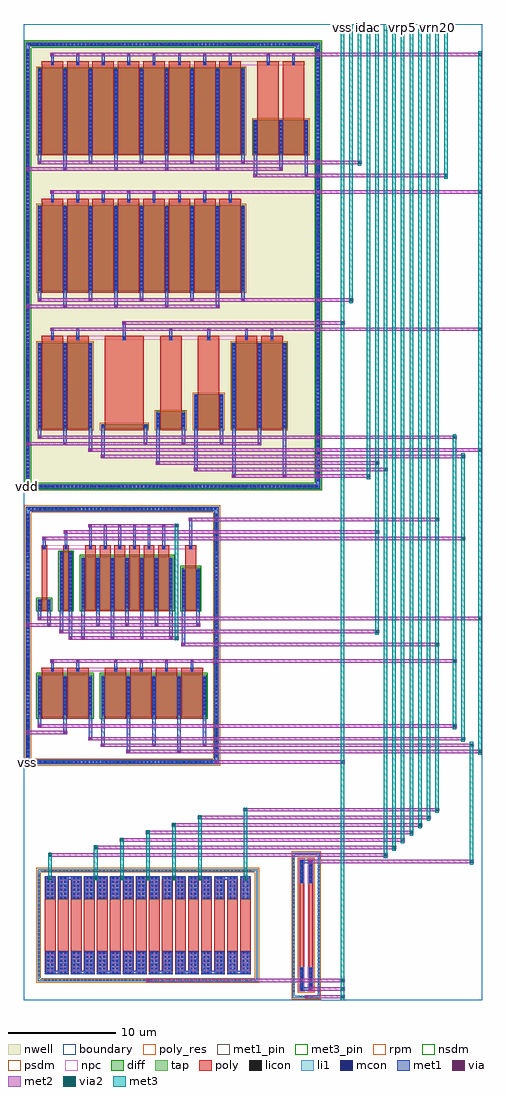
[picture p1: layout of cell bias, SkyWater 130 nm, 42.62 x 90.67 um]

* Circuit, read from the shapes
.subckt bias dcbias icbr idac iramp isw vdd vrm vrn10 vrn20 vrn5 vrp10 vrp20 vrp5 vss
XM1 vss n1 n1 vss sky130_fd_pr__nfet_01v8 w=4 l=2
XM2 vss n2 n3 vss sky130_fd_pr__nfet_01v8 w=1 l=0.5
XM3 n4 dcbias dcbias vss sky130_fd_pr__nfet_01v8 w=5.4 l=0.5
XM4 n2 n1 vss vss sky130_fd_pr__nfet_01v8 w=4 l=2
XM5 vss n4 n4 vss sky130_fd_pr__nfet_01v8 w=5 l=1 m=6
XM6 n3 n1 n5 vss sky130_fd_pr__nfet_01v8 w=4 l=2 m=4
XM7 vss vrn20 vrn20 vss sky130_fd_pr__nfet_01v8 w=4 l=1
XM8 vdd n3 n1 vdd sky130_fd_pr__pfet_01v8 w=8 l=2
XM9 vdd n3 iramp vdd sky130_fd_pr__pfet_01v8 w=8 l=2 m=8
XM10 vdd n3 icbr vdd sky130_fd_pr__pfet_01v8 w=8 l=2 m=8
XM11 n3 n3 vdd vdd sky130_fd_pr__pfet_01v8 w=8 l=2
XM12 vdd vss n2 vdd sky130_fd_pr__pfet_01v8 w=0.42 l=3.6
XM13 vdd n3 dcbias vdd sky130_fd_pr__pfet_01v8 w=1.6 l=2
XM14 vdd n3 vrp20 vdd sky130_fd_pr__pfet_01v8 w=3.2 l=2
XM15 vdd n3 idac vdd sky130_fd_pr__pfet_01v8 w=8 l=2 m=2
XM16 vdd n3 isw vdd sky130_fd_pr__pfet_01v8 w=3.2 l=2 m=2
R17 vrp20 n6 sky130_fd_pr__res_generic_po w=1 l=4.81
R18 n7 n6 sky130_fd_pr__res_generic_po w=1 l=4.81
R19 n7 n8 sky130_fd_pr__res_generic_po w=1 l=4.81
R20 vrp10 n8 sky130_fd_pr__res_generic_po w=1 l=4.81
R21 vrp10 n9 sky130_fd_pr__res_generic_po w=1 l=4.81
R22 vrp5 n9 sky130_fd_pr__res_generic_po w=1 l=4.81
R23 vrp5 n10 sky130_fd_pr__res_generic_po w=1 l=4.81
R24 vrm n10 sky130_fd_pr__res_generic_po w=1 l=4.81
R25 vrm n11 sky130_fd_pr__res_generic_po w=1 l=4.81
R26 vrn5 n11 sky130_fd_pr__res_generic_po w=1 l=4.81
R27 vrn5 n12 sky130_fd_pr__res_generic_po w=1 l=4.81
R28 vrn10 n12 sky130_fd_pr__res_generic_po w=1 l=4.81
R29 vrn10 n13 sky130_fd_pr__res_generic_po w=1 l=4.81
R30 n14 n13 sky130_fd_pr__res_generic_po w=1 l=4.81
R31 n14 n15 sky130_fd_pr__res_generic_po w=1 l=4.81
R32 vrn20 n15 sky130_fd_pr__res_generic_po w=1 l=4.81
XR33 n5 vss vss sky130_fd_pr__res_high_po w=0.35 l=7.88 m=2
.ends

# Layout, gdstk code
import gdstk
lib = gdstk.Library(unit=1e-6, precision=1e-09)
def R(c, l, rs):  # rectangles x0, y0, x1, y1
    for r in rs: c.add(gdstk.rectangle(r[:2], r[2:], *l))
def A(c, l, x, y, w, h, nx, ny, dx, dy):  # array of equal rectangles
    R(c, l, [(x+i*dx, y+j*dy, x+i*dx+w, y+j*dy+h) for i in range(nx) for j in range(ny)])
nwell = (64, 20)
diff = (65, 20)
tap = (65, 44)
poly_res = (66, 13)
poly = (66, 20)
licon = (66, 44)
li1 = (67, 20)
mcon = (67, 44)
met1_pin = (68, 16)
met1 = (68, 20)
via = (68, 44)
met2 = (69, 20)
via2 = (69, 44)
met3_pin = (70, 16)
met3 = (70, 20)
rpm = (86, 20)
nsdm = (93, 44)
psdm = (94, 20)
npc = (95, 20)
boundary = (235, 4)

bias = lib.new_cell('bias')
R(bias, nwell, [(-1.315,25.62,26.435,67.465)])
R(bias, diff, [(0,4.56,5.08,8.56), (5.88,4.56,15.68,8.56), (0,14.515,1.22,15.515), (2.02,14.515,3.24,19.915), (4.04,14.515,12.56,19.515), (13.36,14.515,15.08,18.515), (0,31.37,5.08,39.37), (5.88,31.37,10.2,31.79), (11,31.37,13.72,32.97), (14.52,31.37,17.24,34.57), (18.04,31.37,23.12,39.37), (0,44.125,19.24,52.125), (0,56.88,19.24,64.88), (20.04,56.88,25.12,60.08)])
R(bias, tap, [(23.7,-21.495,26.18,-21.325), (23.7,-21.325,23.87,-8.205), (26.01,-21.325,26.18,-8.205), (0,-19.97,20.45,-19.8), (0,-19.8,0.17,-9.73), (20.28,-19.8,20.45,-9.73), (0,-9.73,20.45,-9.56), (23.7,-8.205,26.18,-8.035), (-1.135,0.19,16.815,0.6), (-1.135,0.19,-0.725,24.12), (16.405,0.19,16.815,24.12), (-1.135,23.71,16.815,24.12), (-1.135,25.8,26.255,26.21), (-1.135,25.8,-0.725,67.285), (25.845,25.8,26.255,67.285), (-1.135,66.875,26.255,67.285)])
A(bias, poly_res, 0.65, -17.17, 1, 4.81, 16, 1, 1.21, 0)
R(bias, poly_res, [(24.35,-18.765,24.7,-10.765), (25.18,-18.765,25.53,-10.765)])
A(bias, poly, 0.65, -19.32, 1, 9.11, 16, 1, 1.21, 0)
A(bias, poly, 6.24, 4.43, 2, 4.75, 4, 1, 2.36, 0)
A(bias, poly, 6.24, 8.81, 2, 0.37, 4, 1, 2.36, 0)
A(bias, poly, 4.4, 14.385, 1, 6.15, 6, 1, 1.36, 0)
A(bias, poly, 4.4, 20.165, 1, 0.37, 6, 1, 1.36, 0)
A(bias, poly, 11.36, 31.24, 2, 8.75, 3, 1, 3.52, 0)
A(bias, poly, 11.36, 39.62, 2, 0.37, 3, 1, 3.52, 0)
A(bias, poly, 0.36, 43.995, 2, 8.75, 8, 2, 2.36, 12.755)
A(bias, poly, 0.36, 52.375, 2, 0.37, 8, 2, 2.36, 12.755)
R(bias, poly, [(24.35,-20.845,24.7,-8.685), (25.18,-20.845,25.53,-8.685), (0.36,4.43,2.36,9.18), (2.72,4.43,4.72,9.18), (0.36,8.81,2.36,9.18), (2.72,8.81,4.72,9.18), (0.36,14.385,0.86,20.535), (2.38,14.385,2.88,20.535), (13.72,14.385,14.72,20.535), (0.36,20.165,0.86,20.535), (2.38,20.165,2.88,20.535), (13.72,20.165,14.72,20.535), (0.36,31.24,2.36,39.99), (2.72,31.24,4.72,39.99), (6.24,31.24,9.84,39.99), (20.76,31.24,22.76,39.99), (0.36,39.62,2.36,39.99), (2.72,39.62,4.72,39.99), (6.24,39.62,9.84,39.99), (20.76,39.62,22.76,39.99), (20.4,56.75,22.4,65.5), (22.76,56.75,24.76,65.5), (20.4,65.13,22.4,65.5), (22.76,65.13,24.76,65.5)])
A(bias, licon, 24.345, -21.495, 0.17, 0.17, 4, 2, 0.34, 13.29)
A(bias, licon, 23.7, -20.97, 0.17, 0.17, 1, 37, 0, 0.34)
A(bias, licon, 26.01, -20.97, 0.17, 0.17, 1, 37, 0, 0.34)
A(bias, licon, 0.62, -19.97, 0.17, 0.17, 57, 2, 0.34, 10.24)
A(bias, licon, 0, -19.44, 0.17, 0.17, 1, 28, 0, 0.34)
A(bias, licon, 20.28, -19.44, 0.17, 0.17, 1, 28, 0, 0.34)
A(bias, licon, -0.915, 0.31, 0.17, 0.17, 52, 2, 0.34, 23.52)
A(bias, licon, -1.015, 0.85, 0.17, 0.17, 1, 67, 0, 0.34)
A(bias, licon, 16.525, 0.85, 0.17, 0.17, 1, 67, 0, 0.34)
A(bias, licon, 0.095, 4.775, 0.17, 0.17, 3, 11, 2.36, 0.34)
A(bias, licon, 5.975, 4.775, 0.17, 0.17, 5, 11, 2.36, 0.34)
A(bias, licon, 7.155, 8.91, 0.17, 0.17, 4, 1, 2.36, 0)
A(bias, licon, 2.115, 14.58, 0.17, 0.17, 1, 16, 0, 0.34)
A(bias, licon, 2.975, 14.58, 0.17, 0.17, 1, 16, 0, 0.34)
A(bias, licon, 0.095, 14.59, 0.17, 0.17, 1, 3, 0, 0.34)
A(bias, licon, 0.955, 14.59, 0.17, 0.17, 1, 3, 0, 0.34)
A(bias, licon, 4.135, 14.72, 0.17, 0.17, 7, 14, 1.36, 0.34)
A(bias, licon, 13.455, 14.73, 0.17, 0.17, 1, 11, 0, 0.34)
A(bias, licon, 14.815, 14.73, 0.17, 0.17, 1, 11, 0, 0.34)
A(bias, licon, 4.815, 20.265, 0.17, 0.17, 6, 1, 1.36, 0)
A(bias, licon, -0.955, 25.92, 0.17, 0.17, 80, 2, 0.34, 41.075)
A(bias, licon, -1.015, 26.57, 0.17, 0.17, 1, 118, 0, 0.34)
A(bias, licon, 25.965, 26.57, 0.17, 0.17, 1, 118, 0, 0.34)
A(bias, licon, 14.615, 31.525, 0.17, 0.17, 1, 9, 0, 0.34)
A(bias, licon, 16.975, 31.525, 0.17, 0.17, 1, 9, 0, 0.34)
A(bias, licon, 0.095, 31.545, 0.17, 0.17, 3, 23, 2.36, 0.34)
A(bias, licon, 18.135, 31.545, 0.17, 0.17, 3, 23, 2.36, 0.34)
A(bias, licon, 11.095, 31.575, 0.17, 0.17, 1, 4, 0, 0.34)
A(bias, licon, 13.455, 31.575, 0.17, 0.17, 1, 4, 0, 0.34)
A(bias, licon, 3.635, 39.72, 0.17, 0.17, 3, 1, 4.32, 0)
A(bias, licon, 0.095, 44.3, 0.17, 0.17, 9, 23, 2.36, 0.34)
A(bias, licon, 1.275, 52.475, 0.17, 0.17, 8, 2, 2.36, 12.755)
A(bias, licon, 20.135, 57.035, 0.17, 0.17, 3, 9, 2.36, 0.34)
A(bias, licon, 0.095, 57.055, 0.17, 0.17, 9, 23, 2.36, 0.34)
R(bias, licon, [(24.43,-20.765,24.62,-18.765), (25.26,-20.765,25.45,-18.765), (0.895,-19.24,1.065,-19.07), (1.235,-19.24,1.405,-19.07), (2.105,-19.24,2.275,-19.07), (2.445,-19.24,2.615,-19.07), (3.315,-19.24,3.485,-19.07), (3.655,-19.24,3.825,-19.07), (4.525,-19.24,4.695,-19.07), (4.865,-19.24,5.035,-19.07), (5.735,-19.24,5.905,-19.07), (6.075,-19.24,6.245,-19.07), (6.945,-19.24,7.115,-19.07), (7.285,-19.24,7.455,-19.07), (8.155,-19.24,8.325,-19.07), (8.495,-19.24,8.665,-19.07), (9.365,-19.24,9.535,-19.07), (9.705,-19.24,9.875,-19.07), (10.575,-19.24,10.745,-19.07), (10.915,-19.24,11.085,-19.07), (11.785,-19.24,11.955,-19.07), (12.125,-19.24,12.295,-19.07), (12.995,-19.24,13.165,-19.07), (13.335,-19.24,13.505,-19.07), (14.205,-19.24,14.375,-19.07), (14.545,-19.24,14.715,-19.07), (15.415,-19.24,15.585,-19.07), (15.755,-19.24,15.925,-19.07), (16.625,-19.24,16.795,-19.07), (16.965,-19.24,17.135,-19.07), (17.835,-19.24,18.005,-19.07), (18.175,-19.24,18.345,-19.07), (19.045,-19.24,19.215,-19.07), (19.385,-19.24,19.555,-19.07), (24.43,-10.765,24.62,-8.765), (25.26,-10.765,25.45,-8.765), (0.895,-10.46,1.065,-10.29), (1.235,-10.46,1.405,-10.29), (2.105,-10.46,2.275,-10.29), (2.445,-10.46,2.615,-10.29), (3.315,-10.46,3.485,-10.29), (3.655,-10.46,3.825,-10.29), (4.525,-10.46,4.695,-10.29), (4.865,-10.46,5.035,-10.29), (5.735,-10.46,5.905,-10.29), (6.075,-10.46,6.245,-10.29), (6.945,-10.46,7.115,-10.29), (7.285,-10.46,7.455,-10.29), (8.155,-10.46,8.325,-10.29), (8.495,-10.46,8.665,-10.29), (9.365,-10.46,9.535,-10.29), (9.705,-10.46,9.875,-10.29), (10.575,-10.46,10.745,-10.29), (10.915,-10.46,11.085,-10.29), (11.785,-10.46,11.955,-10.29), (12.125,-10.46,12.295,-10.29), (12.995,-10.46,13.165,-10.29), (13.335,-10.46,13.505,-10.29), (14.205,-10.46,14.375,-10.29), (14.545,-10.46,14.715,-10.29), (15.415,-10.46,15.585,-10.29), (15.755,-10.46,15.925,-10.29), (16.625,-10.46,16.795,-10.29), (16.965,-10.46,17.135,-10.29), (17.835,-10.46,18.005,-10.29), (18.175,-10.46,18.345,-10.29), (19.045,-10.46,19.215,-10.29), (19.385,-10.46,19.555,-10.29), (1.275,8.91,1.445,9.08), (3.635,8.91,3.805,9.08), (0.525,20.265,0.695,20.435), (2.545,20.265,2.715,20.435), (14.135,20.265,14.305,20.435), (5.975,31.495,6.145,31.665), (9.935,31.495,10.105,31.665), (1.275,39.72,1.445,39.89), (15.795,39.72,15.965,39.89), (19.315,39.72,19.485,39.89), (21.675,39.72,21.845,39.89), (21.315,65.23,21.485,65.4), (23.675,65.23,23.845,65.4)])
A(bias, li1, 0.65, -19.24, 1, 0.17, 16, 2, 1.21, 8.78)
A(bias, li1, 0.73, -19.07, 0.84, 1.815, 16, 2, 1.21, 6.795)
A(bias, li1, 0.095, 4.695, 0.17, 3.73, 3, 1, 2.36, 0)
A(bias, li1, 5.975, 4.695, 0.17, 3.73, 5, 1, 2.36, 0)
A(bias, li1, 7.155, 8.83, 0.17, 0.33, 4, 1, 2.36, 0)
A(bias, li1, 4.135, 14.64, 0.17, 4.75, 7, 1, 1.36, 0)
A(bias, li1, 4.815, 20.185, 0.17, 0.33, 6, 1, 1.36, 0)
A(bias, li1, 0.095, 31.465, 0.17, 7.81, 3, 1, 2.36, 0)
A(bias, li1, 18.135, 31.465, 0.17, 7.81, 3, 1, 2.36, 0)
A(bias, li1, 3.635, 39.64, 0.17, 0.33, 3, 1, 4.32, 0)
A(bias, li1, 0.095, 44.22, 0.17, 7.81, 9, 2, 2.36, 12.755)
A(bias, li1, 1.275, 52.395, 0.17, 0.33, 8, 2, 2.36, 12.755)
A(bias, li1, 20.135, 56.955, 0.17, 3.05, 3, 1, 2.36, 0)
R(bias, li1, [(23.7,-21.495,26.18,-21.325), (23.7,-21.325,23.87,-8.205), (26.01,-21.325,26.18,-8.205), (24.35,-20.845,24.7,-18.685), (25.18,-20.845,25.53,-18.685), (0,-19.97,20.45,-19.8), (0,-19.8,0.17,-9.73), (20.28,-19.8,20.45,-9.73), (24.35,-10.845,24.7,-8.685), (25.18,-10.845,25.53,-8.685), (0,-9.73,20.45,-9.56), (23.7,-8.205,26.18,-8.035), (-1.095,0.23,16.775,0.56), (-1.095,0.23,-0.765,24.08), (16.445,0.23,16.775,24.08), (1.275,8.83,1.445,9.16), (3.635,8.83,3.805,9.16), (2.115,14.5,2.285,19.93), (2.975,14.5,3.145,19.93), (0.095,14.51,0.265,15.52), (0.955,14.51,1.125,15.52), (13.455,14.65,13.625,18.38), (14.815,14.65,14.985,18.38), (0.525,20.185,0.695,20.515), (2.545,20.185,2.715,20.515), (14.135,20.185,14.305,20.515), (-1.095,23.75,16.775,24.08), (-1.095,25.84,26.215,26.17), (-1.095,25.84,-0.765,67.245), (25.885,25.84,26.215,67.245), (5.975,31.415,6.145,31.745), (9.935,31.415,10.105,31.745), (14.615,31.445,14.785,34.495), (16.975,31.445,17.145,34.495), (11.095,31.495,11.265,32.845), (13.455,31.495,13.625,32.845), (1.275,39.64,1.445,39.97), (15.795,39.64,15.965,39.97), (19.315,39.64,19.485,39.97), (21.675,39.64,21.845,39.97), (21.315,65.15,21.485,65.48), (23.675,65.15,23.845,65.48), (-1.095,66.915,26.215,67.245)])
A(bias, mcon, 24.44, -20.75, 0.17, 0.17, 1, 6, 0, 0.36)
A(bias, mcon, 25.27, -20.75, 0.17, 0.17, 1, 6, 0, 0.36)
A(bias, mcon, 0.885, -19.235, 0.17, 0.17, 1, 6, 0, 0.36)
A(bias, mcon, 1.245, -19.235, 0.17, 0.17, 1, 6, 0, 0.36)
A(bias, mcon, 2.095, -19.235, 0.17, 0.17, 1, 6, 0, 0.36)
A(bias, mcon, 2.455, -19.235, 0.17, 0.17, 1, 6, 0, 0.36)
A(bias, mcon, 3.305, -19.235, 0.17, 0.17, 1, 6, 0, 0.36)
A(bias, mcon, 3.665, -19.235, 0.17, 0.17, 1, 6, 0, 0.36)
A(bias, mcon, 4.515, -19.235, 0.17, 0.17, 1, 6, 0, 0.36)
A(bias, mcon, 4.875, -19.235, 0.17, 0.17, 1, 6, 0, 0.36)
A(bias, mcon, 5.725, -19.235, 0.17, 0.17, 1, 6, 0, 0.36)
A(bias, mcon, 6.085, -19.235, 0.17, 0.17, 1, 6, 0, 0.36)
A(bias, mcon, 6.935, -19.235, 0.17, 0.17, 1, 6, 0, 0.36)
A(bias, mcon, 7.295, -19.235, 0.17, 0.17, 1, 6, 0, 0.36)
A(bias, mcon, 8.145, -19.235, 0.17, 0.17, 1, 6, 0, 0.36)
A(bias, mcon, 8.505, -19.235, 0.17, 0.17, 1, 6, 0, 0.36)
A(bias, mcon, 9.355, -19.235, 0.17, 0.17, 1, 6, 0, 0.36)
A(bias, mcon, 9.715, -19.235, 0.17, 0.17, 1, 6, 0, 0.36)
A(bias, mcon, 10.565, -19.235, 0.17, 0.17, 1, 6, 0, 0.36)
A(bias, mcon, 10.925, -19.235, 0.17, 0.17, 1, 6, 0, 0.36)
A(bias, mcon, 11.775, -19.235, 0.17, 0.17, 1, 6, 0, 0.36)
A(bias, mcon, 12.135, -19.235, 0.17, 0.17, 1, 6, 0, 0.36)
A(bias, mcon, 12.985, -19.235, 0.17, 0.17, 1, 6, 0, 0.36)
A(bias, mcon, 13.345, -19.235, 0.17, 0.17, 1, 6, 0, 0.36)
A(bias, mcon, 14.195, -19.235, 0.17, 0.17, 1, 6, 0, 0.36)
A(bias, mcon, 14.555, -19.235, 0.17, 0.17, 1, 6, 0, 0.36)
A(bias, mcon, 15.405, -19.235, 0.17, 0.17, 1, 6, 0, 0.36)
A(bias, mcon, 15.765, -19.235, 0.17, 0.17, 1, 6, 0, 0.36)
A(bias, mcon, 16.615, -19.235, 0.17, 0.17, 1, 6, 0, 0.36)
A(bias, mcon, 16.975, -19.235, 0.17, 0.17, 1, 6, 0, 0.36)
A(bias, mcon, 17.825, -19.235, 0.17, 0.17, 1, 6, 0, 0.36)
A(bias, mcon, 18.185, -19.235, 0.17, 0.17, 1, 6, 0, 0.36)
A(bias, mcon, 19.035, -19.235, 0.17, 0.17, 1, 6, 0, 0.36)
A(bias, mcon, 19.395, -19.235, 0.17, 0.17, 1, 6, 0, 0.36)
A(bias, mcon, 0.885, -12.27, 0.17, 0.17, 1, 6, 0, 0.36)
A(bias, mcon, 1.245, -12.27, 0.17, 0.17, 1, 6, 0, 0.36)
A(bias, mcon, 2.095, -12.27, 0.17, 0.17, 1, 6, 0, 0.36)
A(bias, mcon, 2.455, -12.27, 0.17, 0.17, 1, 6, 0, 0.36)
A(bias, mcon, 3.305, -12.27, 0.17, 0.17, 1, 6, 0, 0.36)
A(bias, mcon, 3.665, -12.27, 0.17, 0.17, 1, 6, 0, 0.36)
A(bias, mcon, 4.515, -12.27, 0.17, 0.17, 1, 6, 0, 0.36)
A(bias, mcon, 4.875, -12.27, 0.17, 0.17, 1, 6, 0, 0.36)
A(bias, mcon, 5.725, -12.27, 0.17, 0.17, 1, 6, 0, 0.36)
A(bias, mcon, 6.085, -12.27, 0.17, 0.17, 1, 6, 0, 0.36)
A(bias, mcon, 6.935, -12.27, 0.17, 0.17, 1, 6, 0, 0.36)
A(bias, mcon, 7.295, -12.27, 0.17, 0.17, 1, 6, 0, 0.36)
A(bias, mcon, 8.145, -12.27, 0.17, 0.17, 1, 6, 0, 0.36)
A(bias, mcon, 8.505, -12.27, 0.17, 0.17, 1, 6, 0, 0.36)
A(bias, mcon, 9.355, -12.27, 0.17, 0.17, 1, 6, 0, 0.36)
A(bias, mcon, 9.715, -12.27, 0.17, 0.17, 1, 6, 0, 0.36)
A(bias, mcon, 10.565, -12.27, 0.17, 0.17, 1, 6, 0, 0.36)
A(bias, mcon, 10.925, -12.27, 0.17, 0.17, 1, 6, 0, 0.36)
A(bias, mcon, 11.775, -12.27, 0.17, 0.17, 1, 6, 0, 0.36)
A(bias, mcon, 12.135, -12.27, 0.17, 0.17, 1, 6, 0, 0.36)
A(bias, mcon, 12.985, -12.27, 0.17, 0.17, 1, 6, 0, 0.36)
A(bias, mcon, 13.345, -12.27, 0.17, 0.17, 1, 6, 0, 0.36)
A(bias, mcon, 14.195, -12.27, 0.17, 0.17, 1, 6, 0, 0.36)
A(bias, mcon, 14.555, -12.27, 0.17, 0.17, 1, 6, 0, 0.36)
A(bias, mcon, 15.405, -12.27, 0.17, 0.17, 1, 6, 0, 0.36)
A(bias, mcon, 15.765, -12.27, 0.17, 0.17, 1, 6, 0, 0.36)
A(bias, mcon, 16.615, -12.27, 0.17, 0.17, 1, 6, 0, 0.36)
A(bias, mcon, 16.975, -12.27, 0.17, 0.17, 1, 6, 0, 0.36)
A(bias, mcon, 17.825, -12.27, 0.17, 0.17, 1, 6, 0, 0.36)
A(bias, mcon, 18.185, -12.27, 0.17, 0.17, 1, 6, 0, 0.36)
A(bias, mcon, 19.035, -12.27, 0.17, 0.17, 1, 6, 0, 0.36)
A(bias, mcon, 19.395, -12.27, 0.17, 0.17, 1, 6, 0, 0.36)
A(bias, mcon, 24.44, -10.755, 0.17, 0.17, 1, 6, 0, 0.36)
A(bias, mcon, 25.27, -10.755, 0.17, 0.17, 1, 6, 0, 0.36)
A(bias, mcon, -0.885, 0.31, 0.17, 0.17, 49, 2, 0.36, 23.52)
A(bias, mcon, -1.015, 0.91, 0.17, 0.17, 1, 63, 0, 0.36)
A(bias, mcon, 16.525, 0.91, 0.17, 0.17, 1, 63, 0, 0.36)
A(bias, mcon, 0.095, 4.855, 0.17, 0.17, 3, 10, 2.36, 0.36)
A(bias, mcon, 5.975, 4.855, 0.17, 0.17, 5, 10, 2.36, 0.36)
A(bias, mcon, 7.155, 8.91, 0.17, 0.17, 4, 1, 2.36, 0)
A(bias, mcon, 0.095, 14.57, 0.17, 0.17, 1, 3, 0, 0.36)
A(bias, mcon, 0.955, 14.57, 0.17, 0.17, 1, 3, 0, 0.36)
A(bias, mcon, 2.115, 14.61, 0.17, 0.17, 1, 15, 0, 0.36)
A(bias, mcon, 2.975, 14.61, 0.17, 0.17, 1, 15, 0, 0.36)
A(bias, mcon, 4.135, 14.77, 0.17, 0.17, 7, 13, 1.36, 0.36)
A(bias, mcon, 13.455, 14.81, 0.17, 0.17, 1, 10, 0, 0.36)
A(bias, mcon, 14.815, 14.81, 0.17, 0.17, 1, 10, 0, 0.36)
A(bias, mcon, 4.815, 20.265, 0.17, 0.17, 6, 1, 1.36, 0)
A(bias, mcon, -0.845, 25.92, 0.17, 0.17, 75, 2, 0.36, 41.075)
A(bias, mcon, -1.015, 26.48, 0.17, 0.17, 1, 112, 0, 0.36)
A(bias, mcon, 25.965, 26.48, 0.17, 0.17, 1, 112, 0, 0.36)
A(bias, mcon, 14.615, 31.445, 0.17, 0.17, 1, 9, 0, 0.36)
A(bias, mcon, 16.975, 31.445, 0.17, 0.17, 1, 9, 0, 0.36)
A(bias, mcon, 0.095, 31.505, 0.17, 0.17, 3, 22, 2.36, 0.36)
A(bias, mcon, 18.135, 31.505, 0.17, 0.17, 3, 22, 2.36, 0.36)
A(bias, mcon, 11.095, 31.545, 0.17, 0.17, 1, 4, 0, 0.36)
A(bias, mcon, 13.455, 31.545, 0.17, 0.17, 1, 4, 0, 0.36)
A(bias, mcon, 3.635, 39.72, 0.17, 0.17, 3, 1, 4.32, 0)
A(bias, mcon, 0.095, 44.26, 0.17, 0.17, 9, 22, 2.36, 0.36)
A(bias, mcon, 1.275, 52.475, 0.17, 0.17, 8, 2, 2.36, 12.755)
A(bias, mcon, 20.135, 56.955, 0.17, 0.17, 3, 9, 2.36, 0.36)
A(bias, mcon, 0.095, 57.015, 0.17, 0.17, 9, 22, 2.36, 0.36)
R(bias, mcon, [(24.855,-21.495,25.025,-21.325), (10.14,-19.97,10.31,-19.8), (1.275,8.91,1.445,9.08), (3.635,8.91,3.805,9.08), (0.525,20.265,0.695,20.435), (2.545,20.265,2.715,20.435), (14.135,20.265,14.305,20.435), (5.975,31.495,6.145,31.665), (9.935,31.495,10.105,31.665), (1.275,39.72,1.445,39.89), (15.795,39.72,15.965,39.89), (19.315,39.72,19.485,39.89), (21.675,39.72,21.845,39.89), (21.315,65.23,21.485,65.4), (23.675,65.23,23.845,65.4)])
R(bias, met1_pin, [(-1.135,0.19,-0.725,0.6), (-1.135,25.8,-0.725,26.21)])
A(bias, met1, 0.99, -19.315, 1.53, 0.32, 8, 1, 2.42, 0)
A(bias, met1, 0.7, -19.3, 0.9, 2.105, 16, 2, 1.21, 6.965)
A(bias, met1, 2.2, -10.535, 1.53, 0.32, 7, 1, 2.42, 0)
A(bias, met1, 5.225, -10.535, 0.32, 0.32, 5, 1, 2.42, 0)
A(bias, met1, 5.9, 1.8, 0.32, 6.525, 3, 1, 4.72, 0)
A(bias, met1, 7.11, 8.795, 0.26, 1.16, 4, 1, 2.36, 0)
A(bias, met1, 4.06, 11.755, 0.32, 7.565, 4, 1, 2.72, 0)
A(bias, met1, 5.42, 12.955, 0.32, 6.365, 3, 1, 2.72, 0)
A(bias, met1, 4.77, 20.15, 0.26, 2.36, 6, 1, 1.36, 0)
A(bias, met1, 12.23, 39.605, 0.26, 1.16, 3, 1, 3.52, 0)
A(bias, met1, 2.38, 42.565, 0.32, 9.485, 4, 2, 4.72, 12.755)
A(bias, met1, 0.02, 43.165, 0.32, 8.885, 5, 2, 4.72, 12.755)
A(bias, met1, 1.23, 52.36, 0.26, 1.16, 8, 2, 2.36, 12.755)
R(bias, met1, [(24.78,-21.57,25.1,-21.25), (24.365,-20.83,25.515,-20.51), (25.195,-20.83,25.515,-20.51), (24.4,-20.815,24.65,-18.71), (25.23,-20.815,25.48,-18.71), (10.065,-20.045,10.385,-19.725), (24.4,-10.82,24.65,-8.715), (25.23,-10.82,25.48,-8.715), (0.99,-10.535,1.31,-10.215), (19.14,-10.535,19.46,-10.215), (24.365,-9.02,25.515,-8.7), (25.195,-9.02,25.515,-8.7), (-1.135,0.19,16.815,0.6), (-1.135,0.19,-0.725,24.12), (16.405,0.19,16.815,24.12), (8.26,1.2,8.58,8.325), (12.98,1.2,13.3,8.325), (4.74,2.4,5.06,8.325), (2.38,3,2.7,8.325), (0.02,3.6,0.34,8.325), (1.23,8.795,1.49,9.955), (3.59,8.795,3.85,9.955), (13.38,11.155,13.7,18.28), (2.9,11.755,3.22,19.88), (2.04,12.355,2.36,19.88), (0.88,12.955,1.2,15.52), (14.74,12.955,15.06,18.28), (0.02,13.555,0.34,15.52), (0.48,20.15,0.74,21.31), (2.5,20.15,2.76,21.91), (14.09,20.15,14.35,23.11), (-1.135,23.71,16.815,24.12), (-1.135,25.8,26.255,26.21), (-1.135,25.8,-0.725,67.285), (25.845,25.8,26.255,67.285), (18.06,26.81,18.38,39.295), (22.78,26.81,23.1,39.295), (14.54,27.41,14.86,34.555), (11.02,28.01,11.34,32.855), (5.9,28.61,6.22,31.725), (4.74,29.21,5.06,39.295), (2.38,29.81,2.7,39.295), (9.86,29.81,10.18,31.725), (13.38,29.81,13.7,32.855), (16.9,29.81,17.22,34.555), (20.42,29.81,20.74,39.295), (0.02,30.41,0.34,39.295), (1.23,39.605,1.49,40.765), (3.59,39.605,3.85,40.765), (7.91,39.605,8.17,41.365), (21.63,39.605,21.89,40.765), (20.06,54.72,20.38,60.065), (24.78,54.72,25.1,60.065), (22.42,55.32,22.74,60.065), (21.27,65.115,21.53,66.275), (23.63,65.115,23.89,66.275), (-1.135,66.875,26.255,67.285)])
A(bias, via, 5.31, -10.45, 0.15, 0.15, 5, 1, 2.42, 0)
A(bias, via, 5.985, 1.885, 0.15, 0.15, 3, 1, 4.72, 0)
A(bias, via, 7.165, 9.72, 0.15, 0.15, 4, 1, 2.36, 0)
A(bias, via, 4.145, 11.84, 0.15, 0.15, 4, 1, 2.72, 0)
A(bias, via, 5.505, 13.04, 0.15, 0.15, 3, 1, 2.72, 0)
A(bias, via, 4.825, 22.275, 0.15, 0.15, 6, 1, 1.36, 0)
A(bias, via, -1.005, 29.895, 0.15, 0.15, 1, 3, 0, 12.755)
A(bias, via, 9.945, 29.895, 0.15, 0.15, 4, 1, 3.52, 0)
A(bias, via, 12.285, 40.53, 0.15, 0.15, 3, 1, 3.52, 0)
A(bias, via, 2.465, 42.65, 0.15, 0.15, 4, 2, 4.72, 12.755)
A(bias, via, 0.105, 43.25, 0.15, 0.15, 5, 2, 4.72, 12.755)
A(bias, via, 1.285, 53.285, 0.15, 0.15, 8, 2, 2.36, 12.755)
R(bias, via, [(24.865,-21.485,25.015,-21.335), (25.28,-20.745,25.43,-20.595), (10.15,-19.96,10.3,-19.81), (1.075,-10.45,1.225,-10.3), (19.225,-10.45,19.375,-10.3), (25.28,-8.935,25.43,-8.785), (16.535,0.32,16.685,0.47), (8.345,1.285,8.495,1.435), (13.065,1.285,13.215,1.435), (4.825,2.485,4.975,2.635), (-1.005,3.085,-0.855,3.235), (2.465,3.085,2.615,3.235), (0.105,3.685,0.255,3.835), (1.285,9.72,1.435,9.87), (3.645,9.72,3.795,9.87), (13.465,11.24,13.615,11.39), (2.985,11.84,3.135,11.99), (2.125,12.44,2.275,12.59), (-1.005,13.04,-0.855,13.19), (0.965,13.04,1.115,13.19), (14.825,13.04,14.975,13.19), (0.105,13.64,0.255,13.79), (0.535,21.075,0.685,21.225), (2.555,21.675,2.705,21.825), (14.145,22.875,14.295,23.025), (18.145,26.895,18.295,27.045), (22.865,26.895,23.015,27.045), (14.625,27.495,14.775,27.645), (11.105,28.095,11.255,28.245), (5.985,28.695,6.135,28.845), (4.825,29.295,4.975,29.445), (2.465,29.895,2.615,30.045), (0.105,30.495,0.255,30.645), (1.285,40.53,1.435,40.68), (3.645,40.53,3.795,40.68), (21.685,40.53,21.835,40.68), (7.965,41.13,8.115,41.28), (20.145,54.805,20.295,54.955), (24.865,54.805,25.015,54.955), (22.505,55.405,22.655,55.555), (21.325,66.04,21.475,66.19), (23.685,66.04,23.835,66.19)])
A(bias, met2, 5.185, -10.575, 0.4, 0.4, 5, 1, 2.42, 0)
A(bias, met2, 5.225, -10.535, 0.32, 0.32, 5, 1, 2.42, 0)
A(bias, met2, 1.16, 40.445, 40.145, 0.32, 1, 3, 0, 12.755)
R(bias, met2, [(24.78,-21.57,25.1,-21.25), (24.78,-21.57,28.505,-21.25), (25.195,-20.83,25.515,-20.51), (25.195,-20.83,28.505,-20.51), (10.065,-20.045,10.385,-19.725), (10.065,-20.045,28.505,-19.725), (0.95,-10.575,1.35,-10.175), (19.1,-10.575,19.5,-10.175), (0.99,-10.535,1.31,-10.215), (19.14,-10.535,19.46,-10.215), (25.195,-9.02,25.515,-8.7), (25.195,-9.02,40.505,-8.7), (0.95,-8.395,32.505,-8.075), (5.185,-7.695,33.305,-7.375), (7.605,-6.995,34.105,-6.675), (10.025,-6.295,34.905,-5.975), (12.445,-5.595,35.705,-5.275), (14.865,-4.895,36.505,-4.575), (19.1,-4.195,37.305,-3.875), (16.45,0.235,28.505,0.555), (8.22,1.2,41.305,1.52), (5.86,1.8,40.505,2.12), (4.7,2.4,39.705,2.72), (-1.09,3,2.74,3.32), (-0.02,3.6,38.905,3.92), (1.16,9.635,38.905,9.955), (13.34,11.155,37.305,11.475), (2.86,11.755,13.08,12.075), (2,12.355,31.705,12.675), (-1.09,12.955,15.1,13.275), (-0.02,13.555,41.305,13.875), (0.41,20.99,39.705,21.31), (2.43,21.59,31.705,21.91), (4.7,22.19,13.08,22.51), (14.02,22.79,37.305,23.11), (18.02,26.81,30.905,27.13), (14.5,27.41,32.505,27.73), (10.98,28.01,31.705,28.33), (5.86,28.61,39.705,28.93), (4.7,29.21,41.305,29.53), (-1.09,29.81,20.78,30.13), (-0.02,30.41,38.905,30.73), (7.84,41.045,28.505,41.365), (-1.09,42.565,16.9,42.885), (-0.02,43.165,29.305,43.485), (20.02,54.72,38.105,55.04), (-1.09,55.32,22.78,55.64), (-0.02,55.92,30.105,56.24)])
A(bias, via2, 5.285, -10.475, 0.2, 0.2, 5, 1, 2.42, 0)
A(bias, via2, 41.005, 40.505, 0.2, 0.2, 1, 3, 0, 12.755)
R(bias, via2, [(28.205,-21.51,28.405,-21.31), (28.205,-20.77,28.405,-20.57), (28.205,-19.985,28.405,-19.785), (1.05,-10.475,1.25,-10.275), (19.2,-10.475,19.4,-10.275), (40.205,-8.96,40.405,-8.76), (1.05,-8.335,1.25,-8.135), (32.205,-8.335,32.405,-8.135), (5.285,-7.635,5.485,-7.435), (33.005,-7.635,33.205,-7.435), (7.705,-6.935,7.905,-6.735), (33.805,-6.935,34.005,-6.735), (10.125,-6.235,10.325,-6.035), (34.605,-6.235,34.805,-6.035), (12.545,-5.535,12.745,-5.335), (35.405,-5.535,35.605,-5.335), (14.965,-4.835,15.165,-4.635), (36.205,-4.835,36.405,-4.635), (19.2,-4.135,19.4,-3.935), (37.005,-4.135,37.205,-3.935), (28.205,0.295,28.405,0.495), (41.005,1.26,41.205,1.46), (40.205,1.86,40.405,2.06), (39.405,2.46,39.605,2.66), (38.605,3.66,38.805,3.86), (38.605,9.695,38.805,9.895), (37.005,11.215,37.205,11.415), (12.78,11.815,12.98,12.015), (31.405,12.415,31.605,12.615), (41.005,13.615,41.205,13.815), (39.405,21.05,39.605,21.25), (31.405,21.65,31.605,21.85), (12.78,22.25,12.98,22.45), (37.005,22.85,37.205,23.05), (30.605,26.87,30.805,27.07), (32.205,27.47,32.405,27.67), (31.405,28.07,31.605,28.27), (39.405,28.67,39.605,28.87), (41.005,29.27,41.205,29.47), (38.605,30.47,38.805,30.67), (28.205,41.105,28.405,41.305), (29.005,43.225,29.205,43.425), (37.805,54.78,38.005,54.98), (29.805,55.98,30.005,56.18)])
A(bias, met3_pin, 28.14, 68.365, 0.33, 0.6, 13, 1, 0.8, 0)
R(bias, met3, [(28.14,-21.71,28.47,68.965), (0.985,-10.575,1.315,-8.035), (5.22,-10.575,5.55,-7.335), (7.64,-10.575,7.97,-6.635), (10.06,-10.575,10.39,-5.935), (12.48,-10.575,12.81,-5.235), (14.9,-10.575,15.23,-4.535), (19.135,-10.575,19.465,-3.835), (40.14,-9.16,40.47,2.26), (32.14,-8.535,32.47,68.965), (32.94,-7.835,33.27,68.965), (33.74,-7.135,34.07,68.965), (34.54,-6.435,34.87,68.965), (35.34,-5.735,35.67,68.965), (36.14,-5.035,36.47,68.965), (36.94,-4.335,37.27,68.965), (40.94,1.06,41.27,66.415), (39.34,2.26,39.67,29.07), (38.54,3.46,38.87,30.87), (12.715,11.715,13.045,22.55), (31.34,12.215,31.67,68.965), (30.54,26.67,30.87,68.965), (28.94,43.025,29.27,68.965), (37.74,54.58,38.07,68.965), (29.74,55.78,30.07,68.965)])
R(bias, rpm, [(24.15,-21.045,25.73,-8.485)])
R(bias, nsdm, [(-0.125,4.435,5.205,8.685), (5.755,4.435,15.805,8.685), (-0.125,14.39,1.345,15.64), (1.895,14.39,3.365,20.04), (3.915,14.39,12.685,19.64), (13.235,14.39,15.205,18.64), (-1.26,25.675,26.38,26.335), (-1.26,25.675,-0.6,67.41), (25.72,25.675,26.38,67.41), (-1.26,66.75,26.38,67.41)])
R(bias, psdm, [(23.575,-21.62,26.305,-7.91), (-0.125,-20.095,20.575,-19.675), (-0.125,-19.675,0.295,-9.855), (20.155,-19.675,20.575,-9.855), (-0.125,-9.855,20.575,-9.435), (-1.26,0.065,16.94,0.725), (-1.26,0.065,-0.6,24.245), (16.28,0.065,16.94,24.245), (-1.26,23.585,16.94,24.245), (-0.125,31.245,5.205,39.495), (5.755,31.245,10.325,31.915), (10.875,31.245,13.845,33.095), (14.395,31.245,17.365,34.695), (17.915,31.245,23.245,39.495), (-0.125,44,19.365,52.25), (-0.125,56.755,19.365,65.005), (19.915,56.755,25.245,60.205)])
A(bias, npc, 0.795, -19.34, 0.71, 0.37, 16, 2, 1.21, 8.78)
R(bias, npc, [(24.255,-20.94,24.795,-8.59), (25.085,-20.94,25.625,-8.59), (0.32,8.81,15.36,9.18), (0.32,20.165,14.76,20.535), (0.32,39.62,22.8,39.99), (0.32,52.375,18.92,52.745), (0.32,65.13,24.8,65.5)])
R(bias, boundary, [(-1.315,-21.71,41.305,68.965), (23.785,-21.41,26.095,-8.12), (0.085,-19.885,20.365,-9.645)])
bias.add(gdstk.Label('vss', (-0.93,0.395), layer=68, texttype=5))
bias.add(gdstk.Label('vdd', (-0.93,26.005), layer=68, texttype=5))
bias.add(gdstk.Label('vss', (28.305,68.665), layer=70, texttype=5))
bias.add(gdstk.Label('iramp', (29.105,68.665), layer=70, texttype=5))
bias.add(gdstk.Label('icbr', (29.905,68.665), layer=70, texttype=5))
bias.add(gdstk.Label('idac', (30.705,68.665), layer=70, texttype=5))
bias.add(gdstk.Label('dcbias', (31.505,68.665), layer=70, texttype=5))
bias.add(gdstk.Label('vrp20', (32.305,68.665), layer=70, texttype=5))
bias.add(gdstk.Label('vrp10', (33.105,68.665), layer=70, texttype=5))
bias.add(gdstk.Label('vrp5', (33.905,68.665), layer=70, texttype=5))
bias.add(gdstk.Label('vrm', (34.705,68.665), layer=70, texttype=5))
bias.add(gdstk.Label('vrn5', (35.505,68.665), layer=70, texttype=5))
bias.add(gdstk.Label('vrn10', (36.305,68.665), layer=70, texttype=5))
bias.add(gdstk.Label('vrn20', (37.105,68.665), layer=70, texttype=5))
bias.add(gdstk.Label('isw', (37.905,68.665), layer=70, texttype=5))

lib.write_gds('bias.gds')
